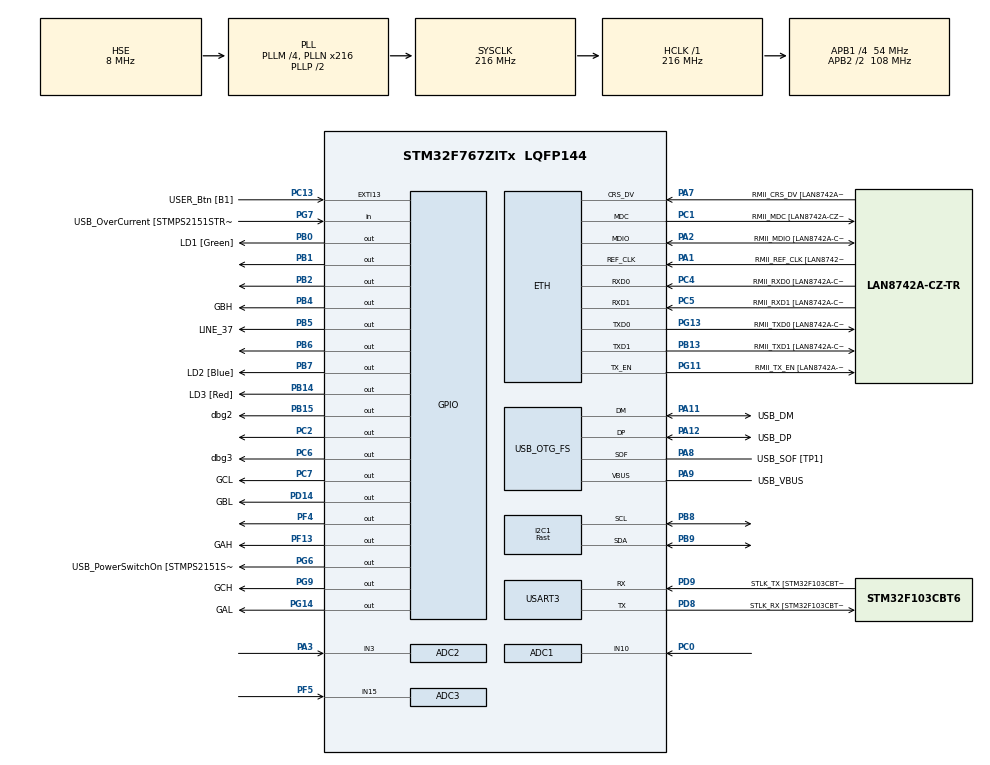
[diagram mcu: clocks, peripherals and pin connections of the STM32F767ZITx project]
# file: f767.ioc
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ADC1.Channel-2\#ChannelRegularConversion=ADC_CHANNEL_10
ADC1.ClockPrescaler=ADC_CLOCK_SYNC_PCLK_DIV8
ADC1.ContinuousConvMode=ENABLE
ADC1.DMAContinuousRequests=DISABLE
ADC1.EOCSelection=ADC_EOC_SEQ_CONV
ADC1.ExternalTrigConv=ADC_SOFTWARE_START
ADC1.Mode=__NULL
ADC1.NbrOfConversionFlag=1
ADC1.Rank-2\#ChannelRegularConversion=1
ADC1.SamplingTime-2\#ChannelRegularConversion=ADC_SAMPLETIME_15CYCLES
ADC1.master=1
ADC2.Channel-0\#ChannelRegularConversion=ADC_CHANNEL_3
ADC2.ClockPrescaler=ADC_CLOCK_SYNC_PCLK_DIV8
ADC2.ContinuousConvMode=ENABLE
ADC2.DMAContinuousRequests=DISABLE
ADC2.EOCSelection=ADC_EOC_SEQ_CONV
ADC2.NbrOfConversionFlag=1
ADC2.Rank-0\#ChannelRegularConversion=1
ADC2.SamplingTime-0\#ChannelRegularConversion=ADC_SAMPLETIME_15CYCLES
ADC3.Channel-0\#ChannelRegularConversion=ADC_CHANNEL_15
ADC3.ClockPrescaler=ADC_CLOCK_SYNC_PCLK_DIV8
ADC3.ContinuousConvMode=ENABLE
ADC3.DMAContinuousRequests=DISABLE
ADC3.EOCSelection=ADC_EOC_SEQ_CONV
ADC3.NbrOfConversionFlag=1
ADC3.Rank-0\#ChannelRegularConversion=1
ADC3.SamplingTime-0\#ChannelRegularConversion=ADC_SAMPLETIME_15CYCLES
CORTEX_M7.ART_ACCLERATOR_ENABLE=1
CORTEX_M7.CPU_DCache=Enabled
CORTEX_M7.CPU_ICache=Enabled
CORTEX_M7.FlashInterface=TCM_Enabled
CORTEX_M7.PREFETCH_ENABLE=1
ETH.MediaInterface=ETH_MEDIA_INTERFACE_RMII
ETH.PHY_Name=LAN8742A_PHY_ADDRESS
ETH.PHY_Value=0
ETH.PhyAddress=0
FREERTOS.Tasks01=defaultTask,24,1024,StartDefaultTask,Default,NULL,Dynamic,NULL,NULL;task2,8,1024,StartTask2,Default,NULL,Dynamic,NULL,NULL;speed_control,16,1024,SpeedControl,Default,NULL,Dynamic,NULL,NULL
FREERTOS.configENABLE_FPU=1
FREERTOS.configMINIMAL_STACK_SIZE=1024
FREERTOS.configTIMER_QUEUE_LENGTH=16
I2C1.I2C_Speed_Mode=I2C_Fast
I2C1.Timing=0x6000030D
LWIP.GATEWAY_ADDRESS=192.168.001.002
LWIP.IP_ADDRESS=192.168.001.241
LWIP.LWIP_DHCP=0
LWIP.NETMASK_ADDRESS=255.255.255.000
LWIP.Version=v2.1.2_Cube
Mcu.Family=STM32F7
Mcu.Name=STM32F767ZITx
Mcu.Package=LQFP144
NVIC.ETH_IRQn=true\:5\:0\:false\:false\:true\:true\:false\:true
NVIC.PriorityGroup=NVIC_PRIORITYGROUP_4
NVIC.TIM2_IRQn=true\:5\:0\:false\:false\:true\:true\:true\:true
NVIC.TIM6_DAC_IRQn=true\:0\:0\:false\:false\:true\:false\:false\:true
NVIC.TimeBase=TIM6_DAC_IRQn
NVIC.TimeBaseIP=TIM6
PA1.GPIO_Label=RMII_REF_CLK [LAN8742A-CZ-TR_REFCLK0]
PA1.Mode=RMII
PA1.Signal=ETH_REF_CLK
PA10.GPIO_Label=USB_ID
PA10.Signal=USB_OTG_FS_ID
PA11.GPIO_Label=USB_DM
PA11.Mode=Device_Only
PA11.Signal=USB_OTG_FS_DM
PA12.GPIO_Label=USB_DP
PA12.Mode=Device_Only
PA12.Signal=USB_OTG_FS_DP
PA13.GPIO_Label=TMS
PA13.Mode=Serial_Wire
PA13.Signal=SYS_JTMS-SWDIO
PA14.GPIO_Label=TCK
PA14.Mode=Serial_Wire
PA14.Signal=SYS_JTCK-SWCLK
PA2.GPIO_Label=RMII_MDIO [LAN8742A-CZ-TR_MDIO]
PA2.Mode=RMII
PA2.Signal=ETH_MDIO
PA3.Signal=ADCx_IN3
PA7.GPIO_Label=RMII_CRS_DV [LAN8742A-CZ-TR_CRS_DV]
PA7.Mode=RMII
PA7.Signal=ETH_CRS_DV
PA8.GPIO_Label=USB_SOF [TP1]
PA8.Mode=Activate_SOF_FS
PA8.Signal=USB_OTG_FS_SOF
PA9.GPIO_Label=USB_VBUS
PA9.Mode=Activate_VBUS
PA9.Signal=USB_OTG_FS_VBUS
PB0.GPIO_Label=LD1 [Green]
PB0.GPIO_Speed=GPIO_SPEED_FREQ_VERY_HIGH
PB0.Signal=GPIO_Output
PB1.GPIO_Speed=GPIO_SPEED_FREQ_VERY_HIGH
PB1.Signal=GPIO_Output
PB13.GPIO_Label=RMII_TXD1 [LAN8742A-CZ-TR_TXD1]
PB13.Mode=RMII
PB13.Signal=ETH_TXD1
PB14.GPIO_Label=LD3 [Red]
PB14.GPIO_Speed=GPIO_SPEED_FREQ_VERY_HIGH
PB14.Signal=GPIO_Output
PB15.GPIO_Label=dbg2
PB15.GPIO_Speed=GPIO_SPEED_FREQ_VERY_HIGH
PB15.Signal=GPIO_Output
PB2.GPIO_Speed=GPIO_SPEED_FREQ_VERY_HIGH
PB2.Signal=GPIO_Output
PB3.GPIO_Label=SWO
PB3.Signal=SYS_JTDO-SWO
PB4.GPIO_Label=GBH
PB4.GPIO_Speed=GPIO_SPEED_FREQ_VERY_HIGH
PB4.Signal=GPIO_Output
PB5.GPIO_Label=LINE_37
PB5.GPIO_Speed=GPIO_SPEED_FREQ_VERY_HIGH
PB5.Signal=GPIO_Output
PB6.GPIO_Speed=GPIO_SPEED_FREQ_VERY_HIGH
PB6.Signal=GPIO_Output
PB7.GPIO_FM7=SYSCFG_PMC_I2C_PB7_FMP
PB7.GPIO_Label=LD2 [Blue]
PB7.GPIO_Speed=GPIO_SPEED_FREQ_VERY_HIGH
PB7.Signal=GPIO_Output
PB8.Mode=I2C
PB8.Signal=I2C1_SCL
PB9.Mode=I2C
PB9.Signal=I2C1_SDA
PC0.Signal=ADCx_IN10
PC1.GPIO_Label=RMII_MDC [LAN8742A-CZ-TR_MDC]
PC1.Mode=RMII
PC1.Signal=ETH_MDC
PC13.GPIO_Label=USER_Btn [B1]
PC13.Signal=GPXTI13
PC14/OSC32_IN.Mode=LSE-External-Oscillator
PC14/OSC32_IN.Signal=RCC_OSC32_IN
PC15/OSC32_OUT.Mode=LSE-External-Oscillator
PC15/OSC32_OUT.Signal=RCC_OSC32_OUT
PC2.GPIO_Speed=GPIO_SPEED_FREQ_VERY_HIGH
PC2.Signal=GPIO_Output
PC4.GPIO_Label=RMII_RXD0 [LAN8742A-CZ-TR_RXD0]
PC4.Mode=RMII
PC4.Signal=ETH_RXD0
PC5.GPIO_Label=RMII_RXD1 [LAN8742A-CZ-TR_RXD1]
PC5.Mode=RMII
PC5.Signal=ETH_RXD1
PC6.GPIO_Label=dbg3
PC6.GPIO_Speed=GPIO_SPEED_FREQ_VERY_HIGH
PC6.Signal=GPIO_Output
PC7.GPIO_Label=GCL
PC7.GPIO_Speed=GPIO_SPEED_FREQ_VERY_HIGH
PC7.Signal=GPIO_Output
PD14.GPIO_Label=GBL
PD14.GPIO_Speed=GPIO_SPEED_FREQ_VERY_HIGH
PD14.Signal=GPIO_Output
PD8.GPIO_Label=STLK_RX [STM32F103CBT6_PA3]
PD8.Mode=Asynchronous
PD8.Signal=USART3_TX
PD9.GPIO_Label=STLK_TX [STM32F103CBT6_PA2]
PD9.Mode=Asynchronous
PD9.Signal=USART3_RX
PF13.GPIO_Label=GAH
PF13.GPIO_Speed=GPIO_SPEED_FREQ_VERY_HIGH
PF13.Signal=GPIO_Output
PF4.GPIO_Speed=GPIO_SPEED_FREQ_VERY_HIGH
PF4.Signal=GPIO_Output
PF5.Mode=IN15
PF5.Signal=ADC3_IN15
PG11.GPIO_Label=RMII_TX_EN [LAN8742A-CZ-TR_TXEN]
PG11.Mode=RMII
PG11.Signal=ETH_TX_EN
PG13.GPIO_Label=RMII_TXD0 [LAN8742A-CZ-TR_TXD0]
PG13.Mode=RMII
PG13.Signal=ETH_TXD0
PG14.GPIO_Label=GAL
PG14.GPIO_Speed=GPIO_SPEED_FREQ_VERY_HIGH
PG14.Signal=GPIO_Output
PG6.GPIO_Label=USB_PowerSwitchOn [STMPS2151STR_EN]
PG6.GPIO_Speed=GPIO_SPEED_FREQ_VERY_HIGH
PG6.Signal=GPIO_Output
PG7.GPIO_Label=USB_OverCurrent [STMPS2151STR_FAULT]
PG7.Signal=GPIO_Input
PG9.GPIO_Label=GCH
PG9.GPIO_Speed=GPIO_SPEED_FREQ_VERY_HIGH
PG9.Signal=GPIO_Output
PH0/OSC_IN.GPIO_Label=MCO [STM32F103CBT6_PA8]
PH0/OSC_IN.Mode=HSE-External-Clock-Source
PH0/OSC_IN.Signal=RCC_OSC_IN
PH1/OSC_OUT.Mode=HSE-External-Clock-Source
PH1/OSC_OUT.Signal=RCC_OSC_OUT
ProjectManager.HeapSize=0x200
ProjectManager.StackSize=0x400
ProjectManager.TargetToolchain=STM32CubeIDE
RCC.48MHZClocksFreq_Value=24000000
RCC.AHBFreq_Value=216000000
RCC.APB1CLKDivider=RCC_HCLK_DIV4
RCC.APB1Freq_Value=54000000
RCC.APB1TimFreq_Value=108000000
RCC.APB2CLKDivider=RCC_HCLK_DIV2
RCC.APB2Freq_Value=108000000
RCC.APB2TimFreq_Value=216000000
RCC.CortexFreq_Value=216000000
RCC.HCLKFreq_Value=216000000
RCC.HSE_VALUE=8000000
RCC.HSI_VALUE=16000000
RCC.PLLM=4
RCC.PLLMUL=RCC_PLL_MUL9
RCC.PLLN=216
RCC.PLLQ=9
RCC.PRESCALERUSB=RCC_USBCLKSOURCE_PLL_DIV1_5
RCC.SYSCLKFreq_VALUE=216000000
RCC.SYSCLKSource=RCC_SYSCLKSOURCE_PLLCLK
RCC.SYSCLKSourceVirtual=RCC_SYSCLKSOURCE_PLLCLK
RCC.USBFreq_Value=48000000
RCC.VCOOutputFreq_Value=432000000
SH.ADCx_IN10.0=ADC1_IN10,IN10
SH.ADCx_IN3.0=ADC2_IN3,IN3
TIM2.Period=1350
USART3.DMADisableonRxErrorParam=ADVFEATURE_DMA_DISABLEONRXERROR
USART3.OverrunDisableParam=ADVFEATURE_OVERRUN_DISABLE
USART3.VirtualMode-Asynchronous=VM_ASYNC
USB_OTG_FS.VirtualMode=Device_Only
VP_FREERTOS_VS_CMSIS_V2.Mode=CMSIS_V2
VP_LWIP_VS_Enabled.Mode=Enabled
VP_SYS_VS_tim6.Mode=TIM6
VP_TIM2_VS_ClockSourceINT.Mode=Internal
board=NUCLEO-F767ZI

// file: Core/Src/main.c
/* USER CODE BEGIN Header */
/**
 ******************************************************************************
 * @file           : main.c
 * @brief          : Main program body
 ******************************************************************************
 * @attention
 *
 * <h2><center>&copy; Copyright (c) 2020 STMicroelectronics.
 * All rights reserved.</center></h2>
 *
 * This software component is licensed by ST under BSD 3-Clause license,
 * the "License"; You may not use this file except in compliance with the
 * License. You may obtain a copy of the License at:
 *                        opensource.org/licenses/BSD-3-Clause
 *
 ******************************************************************************
 */
/* USER CODE END Header */

#include "main.h"
#include "cmsis_os.h"
#include "lwip.h"

/* USER CODE BEGIN Includes */
#include "general.h"
//#include "retarget.h"
#include <fastmath.h>
#include <string.h>
#include <stdlib.h>
#include <lwip/udp.h>
#include <lwip/ip_addr.h>

#include "ssd1306.h"
#include "fonts.h"

/* USER CODE END Includes */

/* USER CODE BEGIN PD */
struct udp_pcb *upcb;
struct ip4_addr dst_addr;

/* USER CODE END PD */

ADC_HandleTypeDef hadc1;
ADC_HandleTypeDef hadc2;
ADC_HandleTypeDef hadc3;

I2C_HandleTypeDef hi2c1;

TIM_HandleTypeDef htim2;

UART_HandleTypeDef huart3;

PCD_HandleTypeDef hpcd_USB_OTG_FS;

/* Definitions for defaultTask */
osThreadId_t defaultTaskHandle;
const osThreadAttr_t defaultTask_attributes = {
  .name = "defaultTask",
  .priority = (osPriority_t) osPriorityNormal,
  .stack_size = 1024 * 4
};
/* Definitions for task2 */
osThreadId_t task2Handle;
const osThreadAttr_t task2_attributes = {
  .name = "task2",
  .priority = (osPriority_t) osPriorityLow,
  .stack_size = 1024 * 4
};
/* Definitions for speed_control */
osThreadId_t speed_controlHandle;
const osThreadAttr_t speed_control_attributes = {
  .name = "speed_control",
  .priority = (osPriority_t) osPriorityBelowNormal,
  .stack_size = 1024 * 4
};
/* USER CODE BEGIN PV */

const float adc_2_volt = 3.3 / 0xfff; // V/code
const float isense_gain = 1.0 / 0.066; // A/V
const float vsense_gain = (218. + 4710.) / 218.;

#define STATE_OFF 0
#define STATE_RUN 1
#define STATE_OC 2
#define STATE_OV 3

#define OC_LIM 10.0  // Amps

volatile struct data_struct_t {
	float adc1;
	float adc2;
	float adc3;
	float ia;		// Measured A Phase Current
	float ib;		// Measured B Phase Current
	float ic;		// Calculated C Phase Current
	float vbus;		// Measured Bus Voltage
	float ids;		// Current D Axis
	float iqs;		// Current Q Axis
	float vds;		// Voltage D Axis
	float vqs;		// Voltage Q Axis
	float flds;		// Flux Linkage D Axis
	float flqs;		// Flux Linkage Q Axis
	float fls;  	// Flux vector norm
	float flux_ang; // Aagle of the d&q flux vectors
	float rs;		// Stator Resistance
	float van;		// Voltage from A to Neutral
	float vbn;		// Voltage from B to Neutral
	float vcn;		// Voltage from C to Neutral
	float te; 		// Electromagnetic Torque
	float torque_goal;
	float flux_goal;
	float speed_rpm;
	float test;
	int run_state;	// Run Mode
	int flux_sector;// Sector from angle.
	int sw;			// Switch state (0-5)
} data;

/* USER CODE END PV */

void SystemClock_Config(void);
static void MX_GPIO_Init(void);
static void MX_USART3_UART_Init(void);
static void MX_USB_OTG_FS_PCD_Init(void);
static void MX_ADC1_Init(void);
static void MX_ADC2_Init(void);
static void MX_ADC3_Init(void);
static void MX_TIM2_Init(void);
static void MX_I2C1_Init(void);
void StartDefaultTask(void *argument);
void StartTask2(void *argument);
void SpeedControl(void *argument);

/* USER CODE BEGIN PFP */

void print_float(float val, char *buf) {

	char *val_sign = (val < 0) ? "-" : "";
	float abs_val = (val < 0) ? -val : val;

	int val_int = abs_val;                  // Get the integer (678).
	float val_frac = abs_val - abs_val;      // Get fraction (0.0123).
	int val_int2 = trunc(val_frac * 1000);  // Turn into integer (123).

	// Print as parts, note that you need 0-padding for fractional bit.
	snprintf(buf, 8, "%s%d.%01d", val_sign, val_int, val_int2);
}

/* USER CODE END PFP */

/* USER CODE BEGIN 0 */

const float one_over_sqrt3 = 1.0 / sqrtf(3);
const float one_over_three = 1.0 / 3.0;
const float two_over_three = 2.0 / 3.0;
const float rad_2_deg = 180.0 / M_PI;
const float dt = 1.0 / 80e3;
#define poles 8
const float Ke = 0.036;

float torque_hyst = 0.001;
float flux_hyst = 0.0005;

const float deg_per_sec_to_rpm = 60.0 / 360.0;

const uint16_t switch_vector_lookup[6][6] = {
		{2, 3, 4, 5, 6, 1},
		{0, 7, 0, 7, 0, 7},
		{6, 1, 2, 3, 4, 5},
		{3, 4, 5, 6, 1, 2},
		{7, 0, 7, 0, 7, 0},
		{5, 6, 1, 2, 3, 4},
};

#define SPEED_FILT_LEN 64
#define STEPS_PER_SPEED_UPDATE 8 // 10kHz
static float speed_filt_arr[SPEED_FILT_LEN];
static float speed_filt_sum = 0;
static int speed_filt_idx = 0;

void FastControl(void) {
	// Hysteresis state variables
	static int dflux = 1;
	static int dtorque = 1;
	static float last_ang = 0;
	static int steps_per_angle_update = 1;
	static int run_speed_calc = 0;
	static float torque_err_last = 0;

	// Neutral voltage
	float vn;

	DBG_0_ON();

	// https://www.mathworks.com/help/physmod/sps/powersys/ug/simulating-an-ac-motor-drive.html#f4-7795

	data.adc1 = ADC1->DR * adc_2_volt;
	data.adc2 = ADC2->DR * adc_2_volt;
	data.adc3 = ADC3->DR * adc_2_volt;
	data.vbus = data.adc1 * vsense_gain;
	data.ia = -(data.adc2 - 1.65) * isense_gain;
	data.ib = -(data.adc3 - 1.65) * isense_gain;
	data.ic = 0 - data.ia - data.ib; // ia + ib + ic = 0

	if (data.ia > OC_LIM) {
		data.run_state = STATE_OC;
	}
	if (data.ib > OC_LIM) {
		data.run_state = STATE_OC;
	}
	if (data.ic > OC_LIM) {
		data.run_state = STATE_OC;
	}

	// Page 27
	// COmpute D&Q Currents
	data.iqs = two_over_three * data.ia - one_over_three * data.ib - one_over_three * data.ic;
	data.ids = one_over_sqrt3 * data.ic - one_over_sqrt3 * data.ib;

	// From the switch state the last cycle - compute vd and vq
	switch(data.sw){
		case 0:
			// AL BL CL - Braking Low
			data.van = 0.0;
			data.vbn = 0.0;
			data.vcn = 0.0;
			break;
		case 1:
			//  AH BL CL
			vn = data.vbus * one_over_three;
			data.van = data.vbus - vn;
			data.vbn = -vn;
			data.vcn = -vn;
			break;
		case 2:
			//  AH BH CL
			vn = data.vbus * two_over_three;
			data.van = data.vbus - vn;
			data.vbn = data.vbus - vn;
			data.vcn = -vn;
			break;
		case 3:
			//  AL BH CL
			vn = data.vbus * one_over_three;
			data.van = -vn;
			data.vbn = data.vbus - vn;
			data.vcn = -vn;
			break;
		case 4:
			//  AL BH CH
			vn = data.vbus * two_over_three;
			data.van = -vn;
			data.vbn = data.vbus - vn;
			data.vcn = data.vbus - vn;
			break;
		case 5:
			//  AL BL CH
			vn = data.vbus * one_over_three;
			data.van = -vn;
			data.vbn = -vn;
			data.vcn = data.vbus - vn;
			break;
		case 6:
			//  AH BL CH
			vn = data.vbus * two_over_three;
			data.van = data.vbus - vn;
			data.vbn = -vn;
			data.vcn = data.vbus - vn;
			break;
		case 7:
			// AH BH CH - Braking High
			data.van = 0.0;
			data.vbn = 0.0;
			data.vcn = 0.0;
			break;
		default:
			data.van = 0.0;
			data.vbn = 0.0;
			data.vcn = 0.0;
			break;
	}

	// Compute D&Q Voltages
	data.vqs = two_over_three * data.van - one_over_three * data.vbn - one_over_three * data.vcn;
	data.vds = one_over_sqrt3 * data.vcn - one_over_sqrt3 * data.vbn;

	// Compute D&Q flux linkages by integration + the vector norm
	data.flds += (data.vds - data.rs * data.ids) * dt;
	data.flqs += (data.vqs - data.rs * data.iqs) * dt;
	data.fls = hypotf(data.flds, data.flqs);

	// From the flux calculate the sector we're in
	data.flux_ang = atan2f(-data.flds, data.flqs) * rad_2_deg;

	// Compute electromagnetic torque
	data.te = 0.75 * poles * (data.flds * data.iqs - data.flqs * data.ids);

	// Compute hysteresis state switches
	float torque_err = data.torque_goal - data.te;
	float flux_err = data.flux_goal - data.fls;
	//if(torque_err > torque_hyst){dtorque = -1;}
	//if(torque_err < -torque_hyst){dtorque = 1;}

	if(torque_err > 0){
		if(torque_err > torque_hyst){dtorque = -1;}
		else if(torque_err > torque_err_last){dtorque = 0;}
		else{dtorque = -1;}
	}else{
		if(torque_err < torque_hyst){dtorque = 1;}
		else if(torque_err < torque_err_last){dtorque = 0;}
		else{dtorque = 1;}
	}

	torque_err_last = torque_err;

	if(flux_err > flux_hyst){dflux = 1;}
	if(flux_err < -flux_hyst){dflux = -1;}

	// Figure out the first index for the switch table from the hysteresis comparators
	int sw_row;
	if(dflux == 1){
		if(dtorque == 1){sw_row = 0;}
		else if(dtorque == 0){sw_row = 1;}
		else{sw_row = 2;}
	}
	else{
		if(dtorque == 1){sw_row = 3;}
		else if(dtorque == 0){sw_row = 4;}
		else{sw_row = 5;}
	}

	// Next figure out the switch state from the flux angle.
	if(data.flux_ang >= -30 && data.flux_ang < 30){data.flux_sector = 1;}
	else if(data.flux_ang >= 30 && data.flux_ang < 90){data.flux_sector = 2;}
	else if(data.flux_ang >= 90 && data.flux_ang < 150){data.flux_sector = 3;}
	else if(data.flux_ang >= 150 && data.flux_ang < 180){data.flux_sector = 4;}
	else if(data.flux_ang >= -180 && data.flux_ang < -150){data.flux_sector = 4;}
	else if(data.flux_ang >= -150 && data.flux_ang < -90){data.flux_sector = 5;}
	else if(data.flux_ang >= -90 && data.flux_ang < -30){data.flux_sector = 6;}
	else {data.flux_sector = 1;}

	int sw_col = data.flux_sector - 1;

	// Set the switch state
	// TODO add a limiter function here.
	data.sw = switch_vector_lookup[sw_row][sw_col];

	// Resistance corrector
	// TODO
	data.rs = 0.72/2.0;

	// Estimate the speed
	// Wraparound
	if(last_ang < -90 && data.flux_ang > 90){
		last_ang += 360.0;
	}
	if(last_ang > 90 && data.flux_ang < -90){
		last_ang -= 360.0;
	}
	if(run_speed_calc++ >= STEPS_PER_SPEED_UPDATE){
		DBG_1_ON();
		run_speed_calc = 1;
		float deg_per_sec = (data.flux_ang - last_ang) / (dt*STEPS_PER_SPEED_UPDATE);
  	    float inst_rpm = -deg_per_sec * deg_per_sec_to_rpm * 2.0 / poles;
	    data.test = inst_rpm;
	    inst_rpm = lim_float(inst_rpm, -10000, 10000);
	    last_ang = data.flux_ang;
    	// Filter for speed
	    speed_filt_sum += inst_rpm;
	    speed_filt_sum -= speed_filt_arr[speed_filt_idx];
	    speed_filt_arr[speed_filt_idx] = inst_rpm;
	    speed_filt_idx++;
	    if(speed_filt_idx >= SPEED_FILT_LEN){ speed_filt_idx = 0;}

	    data.speed_rpm = speed_filt_sum / SPEED_FILT_LEN;
	    DBG_1_OFF();
	}else{
		steps_per_angle_update++;
	}

	// Switch to set switch states
	switch(data.sw){
		case 0:
			// AL BL CL - Brake
			AH_OFF();
			BH_OFF();
			CH_OFF();
			delay200ns();
			AL_ON();
			BL_ON();
			CL_ON();
			break;
		case 1:
			//  AH BL CL - V1
			AL_OFF();
			BH_OFF();
			CH_OFF();
			delay200ns();
			AH_ON();
			BL_ON();
			CL_ON();
			break;
		case 2:
			//  AH BH CL - V2
			AL_OFF();
			BL_OFF();
			CH_OFF();
			delay200ns();
			AH_ON();
			BH_ON();
			CL_ON();
			break;
		case 3:
			//  AL BH CL - V3
			AH_OFF();
			BL_OFF();
			CH_OFF();
			delay200ns();
			AL_ON();
			BH_ON();
			CL_ON();
			break;
		case 4:
			//  AL BH CH - V4
			AH_OFF();
			BL_OFF();
			CL_OFF();
			delay200ns();
			AL_ON();
			BH_ON();
			CH_ON();
			break;
		case 5:
			//  AL BL CH - V5
			AH_OFF();
			BH_OFF();
			CL_OFF();
			delay200ns();
			AL_ON();
			BL_ON();
			CH_ON();
			break;
		case 6:
			//  AH BL CH - V6
			AL_OFF();
			BH_OFF();
			CL_OFF();
			delay200ns();
			AH_ON();
			BL_ON();
			CH_ON();
			break;
		case 7:
			// AH BH CH - Brake
			AL_OFF();
			BL_OFF();
			CL_OFF();
			delay200ns();
			AH_ON();
			BH_ON();
			CH_ON();
			break;
		default:
			// All Off
			AL_OFF();
			AH_OFF();
			BL_OFF();
			BH_OFF();
			CL_OFF();
			CH_OFF();
			break;
	}

	DBG_0_OFF();
}

/* USER CODE END 0 */

int main(void)
{

  /* Enable I-Cache---------------------------------------------------------*/
  SCB_EnableICache();

  /* Enable D-Cache---------------------------------------------------------*/
  SCB_EnableDCache();

  /* MCU Configuration--------------------------------------------------------*/

  /* Reset of all peripherals, Initializes the Flash interface and the Systick. */
  HAL_Init();

  /* Configure the system clock */
  SystemClock_Config();

  /* Initialize all configured peripherals */
  MX_GPIO_Init();
  MX_USART3_UART_Init();
  MX_USB_OTG_FS_PCD_Init();
  MX_ADC1_Init();
  MX_ADC2_Init();
  MX_ADC3_Init();
  MX_TIM2_Init();
  MX_I2C1_Init();
  /* USER CODE BEGIN 2 */

	HAL_TIM_Base_Start_IT(&htim2);
	HAL_ADC_Start(&hadc1);
	HAL_ADC_Start(&hadc2);
	HAL_ADC_Start(&hadc3);

	GeneralInit();

	ssd1306_Init();
	ssd1306_Fill(Black);
	ssd1306_UpdateScreen();
	HAL_Delay(250);
	ssd1306_SetCursor(0, 23);
	ssd1306_WriteString("Initialized", Font_11x18, White);
	ssd1306_UpdateScreen();
	HAL_Delay(250);
	ssd1306_Fill(Black);
	ssd1306_UpdateScreen();

	//RetargetInit(&huart3);

	//NVIC_PriorityGroupConfig( NVIC_PriorityGroup_4 );

  /* USER CODE END 2 */

  /* Init scheduler */
  osKernelInitialize();

  /* USER CODE BEGIN RTOS_TIMERS */
	//osTimerStart(timer_100msHandle, 1);
	/* start timers, add new ones, ... */
  /* USER CODE END RTOS_TIMERS */

  /* Create the thread(s) */
  /* creation of defaultTask */
  defaultTaskHandle = osThreadNew(StartDefaultTask, NULL, &defaultTask_attributes);

  /* creation of task2 */
  task2Handle = osThreadNew(StartTask2, NULL, &task2_attributes);

  /* creation of speed_control */
  speed_controlHandle = osThreadNew(SpeedControl, NULL, &speed_control_attributes);

  /* Start scheduler */
  osKernelStart();

  /* We should never get here as control is now taken by the scheduler */
  /* Infinite loop */
	while (1) {

	}
}

void SystemClock_Config(void)
{
  RCC_OscInitTypeDef RCC_OscInitStruct = {0};
  RCC_ClkInitTypeDef RCC_ClkInitStruct = {0};
  RCC_PeriphCLKInitTypeDef PeriphClkInitStruct = {0};

  /** Configure LSE Drive Capability
  */
  HAL_PWR_EnableBkUpAccess();
  /** Configure the main internal regulator output voltage
  */
  __HAL_RCC_PWR_CLK_ENABLE();
  __HAL_PWR_VOLTAGESCALING_CONFIG(PWR_REGULATOR_VOLTAGE_SCALE1);
  /** Initializes the CPU, AHB and APB busses clocks
  */
  RCC_OscInitStruct.OscillatorType = RCC_OSCILLATORTYPE_HSE;
  RCC_OscInitStruct.HSEState = RCC_HSE_BYPASS;
  RCC_OscInitStruct.PLL.PLLState = RCC_PLL_ON;
  RCC_OscInitStruct.PLL.PLLSource = RCC_PLLSOURCE_HSE;
  RCC_OscInitStruct.PLL.PLLM = 4;
  RCC_OscInitStruct.PLL.PLLN = 216;
  RCC_OscInitStruct.PLL.PLLP = RCC_PLLP_DIV2;
  RCC_OscInitStruct.PLL.PLLQ = 9;
  if (HAL_RCC_OscConfig(&RCC_OscInitStruct) != HAL_OK)
  {
    Error_Handler();
  }
  /** Activate the Over-Drive mode
  */
  if (HAL_PWREx_EnableOverDrive() != HAL_OK)
  {
    Error_Handler();
  }
  /** Initializes the CPU, AHB and APB busses clocks
  */
  RCC_ClkInitStruct.ClockType = RCC_CLOCKTYPE_HCLK|RCC_CLOCKTYPE_SYSCLK
                              |RCC_CLOCKTYPE_PCLK1|RCC_CLOCKTYPE_PCLK2;
  RCC_ClkInitStruct.SYSCLKSource = RCC_SYSCLKSOURCE_PLLCLK;
  RCC_ClkInitStruct.AHBCLKDivider = RCC_SYSCLK_DIV1;
  RCC_ClkInitStruct.APB1CLKDivider = RCC_HCLK_DIV4;
  RCC_ClkInitStruct.APB2CLKDivider = RCC_HCLK_DIV2;

  if (HAL_RCC_ClockConfig(&RCC_ClkInitStruct, FLASH_LATENCY_7) != HAL_OK)
  {
    Error_Handler();
  }
  PeriphClkInitStruct.PeriphClockSelection = RCC_PERIPHCLK_USART3|RCC_PERIPHCLK_I2C1
                              |RCC_PERIPHCLK_CLK48;
  PeriphClkInitStruct.Usart3ClockSelection = RCC_USART3CLKSOURCE_PCLK1;
  PeriphClkInitStruct.I2c1ClockSelection = RCC_I2C1CLKSOURCE_PCLK1;
  PeriphClkInitStruct.Clk48ClockSelection = RCC_CLK48SOURCE_PLL;
  if (HAL_RCCEx_PeriphCLKConfig(&PeriphClkInitStruct) != HAL_OK)
  {
    Error_Handler();
  }
}

static void MX_ADC1_Init(void)
{

  ADC_ChannelConfTypeDef sConfig = {0};

  /** Configure the global features of the ADC (Clock, Resolution, Data Alignment and number of conversion)
  */
  hadc1.Instance = ADC1;
  hadc1.Init.ClockPrescaler = ADC_CLOCK_SYNC_PCLK_DIV8;
  hadc1.Init.Resolution = ADC_RESOLUTION_12B;
  hadc1.Init.ScanConvMode = ADC_SCAN_DISABLE;
  hadc1.Init.ContinuousConvMode = ENABLE;
  hadc1.Init.DiscontinuousConvMode = DISABLE;
  hadc1.Init.ExternalTrigConvEdge = ADC_EXTERNALTRIGCONVEDGE_NONE;
  hadc1.Init.ExternalTrigConv = ADC_SOFTWARE_START;
  hadc1.Init.DataAlign = ADC_DATAALIGN_RIGHT;
  hadc1.Init.NbrOfConversion = 1;
  hadc1.Init.DMAContinuousRequests = DISABLE;
  hadc1.Init.EOCSelection = ADC_EOC_SEQ_CONV;
  if (HAL_ADC_Init(&hadc1) != HAL_OK)
  {
    Error_Handler();
  }
  /** Configure for the selected ADC regular channel its corresponding rank in the sequencer and its sample time.
  */
  sConfig.Channel = ADC_CHANNEL_10;
  sConfig.Rank = ADC_REGULAR_RANK_1;
  sConfig.SamplingTime = ADC_SAMPLETIME_15CYCLES;
  if (HAL_ADC_ConfigChannel(&hadc1, &sConfig) != HAL_OK)
  {
    Error_Handler();
  }

}

static void MX_ADC2_Init(void)
{

  ADC_ChannelConfTypeDef sConfig = {0};

  /** Configure the global features of the ADC (Clock, Resolution, Data Alignment and number of conversion)
  */
  hadc2.Instance = ADC2;
  hadc2.Init.ClockPrescaler = ADC_CLOCK_SYNC_PCLK_DIV8;
  hadc2.Init.Resolution = ADC_RESOLUTION_12B;
  hadc2.Init.ScanConvMode = ADC_SCAN_DISABLE;
  hadc2.Init.ContinuousConvMode = ENABLE;
  hadc2.Init.DiscontinuousConvMode = DISABLE;
  hadc2.Init.ExternalTrigConvEdge = ADC_EXTERNALTRIGCONVEDGE_NONE;
  hadc2.Init.ExternalTrigConv = ADC_SOFTWARE_START;
  hadc2.Init.DataAlign = ADC_DATAALIGN_RIGHT;
  hadc2.Init.NbrOfConversion = 1;
  hadc2.Init.DMAContinuousRequests = DISABLE;
  hadc2.Init.EOCSelection = ADC_EOC_SEQ_CONV;
  if (HAL_ADC_Init(&hadc2) != HAL_OK)
  {
    Error_Handler();
  }
  /** Configure for the selected ADC regular channel its corresponding rank in the sequencer and its sample time.
  */
  sConfig.Channel = ADC_CHANNEL_3;
  sConfig.Rank = ADC_REGULAR_RANK_1;
  sConfig.SamplingTime = ADC_SAMPLETIME_15CYCLES;
  if (HAL_ADC_ConfigChannel(&hadc2, &sConfig) != HAL_OK)
  {
    Error_Handler();
  }

}

static void MX_ADC3_Init(void)
{

  ADC_ChannelConfTypeDef sConfig = {0};

  /** Configure the global features of the ADC (Clock, Resolution, Data Alignment and number of conversion)
  */
  hadc3.Instance = ADC3;
  hadc3.Init.ClockPrescaler = ADC_CLOCK_SYNC_PCLK_DIV8;
  hadc3.Init.Resolution = ADC_RESOLUTION_12B;
  hadc3.Init.ScanConvMode = ADC_SCAN_DISABLE;
  hadc3.Init.ContinuousConvMode = ENABLE;
  hadc3.Init.DiscontinuousConvMode = DISABLE;
  hadc3.Init.ExternalTrigConvEdge = ADC_EXTERNALTRIGCONVEDGE_NONE;
  hadc3.Init.ExternalTrigConv = ADC_SOFTWARE_START;
  hadc3.Init.DataAlign = ADC_DATAALIGN_RIGHT;
  hadc3.Init.NbrOfConversion = 1;
  hadc3.Init.DMAContinuousRequests = DISABLE;
  hadc3.Init.EOCSelection = ADC_EOC_SEQ_CONV;
  if (HAL_ADC_Init(&hadc3) != HAL_OK)
  {
    Error_Handler();
  }
  /** Configure for the selected ADC regular channel its corresponding rank in the sequencer and its sample time.
  */
  sConfig.Channel = ADC_CHANNEL_15;
  sConfig.Rank = ADC_REGULAR_RANK_1;
  sConfig.SamplingTime = ADC_SAMPLETIME_15CYCLES;
  if (HAL_ADC_ConfigChannel(&hadc3, &sConfig) != HAL_OK)
  {
    Error_Handler();
  }

}

static void MX_I2C1_Init(void)
{

  hi2c1.Instance = I2C1;
  hi2c1.Init.Timing = 0x6000030D;
  hi2c1.Init.OwnAddress1 = 0;
  hi2c1.Init.AddressingMode = I2C_ADDRESSINGMODE_7BIT;
  hi2c1.Init.DualAddressMode = I2C_DUALADDRESS_DISABLE;
  hi2c1.Init.OwnAddress2 = 0;
  hi2c1.Init.OwnAddress2Masks = I2C_OA2_NOMASK;
  hi2c1.Init.GeneralCallMode = I2C_GENERALCALL_DISABLE;
  hi2c1.Init.NoStretchMode = I2C_NOSTRETCH_DISABLE;
  if (HAL_I2C_Init(&hi2c1) != HAL_OK)
  {
    Error_Handler();
  }
  /** Configure Analogue filter
  */
  if (HAL_I2CEx_ConfigAnalogFilter(&hi2c1, I2C_ANALOGFILTER_ENABLE) != HAL_OK)
  {
    Error_Handler();
  }
  /** Configure Digital filter
  */
  if (HAL_I2CEx_ConfigDigitalFilter(&hi2c1, 0) != HAL_OK)
  {
    Error_Handler();
  }

}

static void MX_TIM2_Init(void)
{

  TIM_ClockConfigTypeDef sClockSourceConfig = {0};
  TIM_MasterConfigTypeDef sMasterConfig = {0};

  htim2.Instance = TIM2;
  htim2.Init.Prescaler = 0;
  htim2.Init.CounterMode = TIM_COUNTERMODE_UP;
  htim2.Init.Period = 1350;
  htim2.Init.ClockDivision = TIM_CLOCKDIVISION_DIV1;
  htim2.Init.AutoReloadPreload = TIM_AUTORELOAD_PRELOAD_DISABLE;
  if (HAL_TIM_Base_Init(&htim2) != HAL_OK)
  {
    Error_Handler();
  }
  sClockSourceConfig.ClockSource = TIM_CLOCKSOURCE_INTERNAL;
  if (HAL_TIM_ConfigClockSource(&htim2, &sClockSourceConfig) != HAL_OK)
  {
    Error_Handler();
  }
  sMasterConfig.MasterOutputTrigger = TIM_TRGO_RESET;
  sMasterConfig.MasterSlaveMode = TIM_MASTERSLAVEMODE_DISABLE;
  if (HAL_TIMEx_MasterConfigSynchronization(&htim2, &sMasterConfig) != HAL_OK)
  {
    Error_Handler();
  }

}

static void MX_USART3_UART_Init(void)
{

  huart3.Instance = USART3;
  huart3.Init.BaudRate = 115200;
  huart3.Init.WordLength = UART_WORDLENGTH_8B;
  huart3.Init.StopBits = UART_STOPBITS_1;
  huart3.Init.Parity = UART_PARITY_NONE;
  huart3.Init.Mode = UART_MODE_TX_RX;
  huart3.Init.HwFlowCtl = UART_HWCONTROL_NONE;
  huart3.Init.OverSampling = UART_OVERSAMPLING_16;
  huart3.Init.OneBitSampling = UART_ONE_BIT_SAMPLE_DISABLE;
  huart3.AdvancedInit.AdvFeatureInit = UART_ADVFEATURE_RXOVERRUNDISABLE_INIT|UART_ADVFEATURE_DMADISABLEONERROR_INIT;
  huart3.AdvancedInit.OverrunDisable = UART_ADVFEATURE_OVERRUN_DISABLE;
  huart3.AdvancedInit.DMADisableonRxError = UART_ADVFEATURE_DMA_DISABLEONRXERROR;
  if (HAL_UART_Init(&huart3) != HAL_OK)
  {
    Error_Handler();
  }

}

static void MX_USB_OTG_FS_PCD_Init(void)
{

  hpcd_USB_OTG_FS.Instance = USB_OTG_FS;
  hpcd_USB_OTG_FS.Init.dev_endpoints = 6;
  hpcd_USB_OTG_FS.Init.speed = PCD_SPEED_FULL;
  hpcd_USB_OTG_FS.Init.dma_enable = DISABLE;
  hpcd_USB_OTG_FS.Init.phy_itface = PCD_PHY_EMBEDDED;
  hpcd_USB_OTG_FS.Init.Sof_enable = ENABLE;
  hpcd_USB_OTG_FS.Init.low_power_enable = DISABLE;
  hpcd_USB_OTG_FS.Init.lpm_enable = DISABLE;
  hpcd_USB_OTG_FS.Init.vbus_sensing_enable = ENABLE;
  hpcd_USB_OTG_FS.Init.use_dedicated_ep1 = DISABLE;
  if (HAL_PCD_Init(&hpcd_USB_OTG_FS) != HAL_OK)
  {
    Error_Handler();
  }

}

static void MX_GPIO_Init(void)
{
  GPIO_InitTypeDef GPIO_InitStruct = {0};

  /* GPIO Ports Clock Enable */
  __HAL_RCC_GPIOC_CLK_ENABLE();
  __HAL_RCC_GPIOF_CLK_ENABLE();
  __HAL_RCC_GPIOH_CLK_ENABLE();
  __HAL_RCC_GPIOA_CLK_ENABLE();
  __HAL_RCC_GPIOB_CLK_ENABLE();
  __HAL_RCC_GPIOD_CLK_ENABLE();
  __HAL_RCC_GPIOG_CLK_ENABLE();

  /*Configure GPIO pin Output Level */
  HAL_GPIO_WritePin(GPIOF, GPIO_PIN_4|GAH_Pin, GPIO_PIN_RESET);

  /*Configure GPIO pin Output Level */
  HAL_GPIO_WritePin(GPIOC, GPIO_PIN_2|dbg3_Pin|GCL_Pin, GPIO_PIN_RESET);

  /*Configure GPIO pin Output Level */
  HAL_GPIO_WritePin(GPIOB, LD1_Pin|GPIO_PIN_1|GPIO_PIN_2|LD3_Pin
                          |dbg2_Pin|GBH_Pin|LINE_37_Pin|GPIO_PIN_6
                          |LD2_Pin, GPIO_PIN_RESET);

  /*Configure GPIO pin Output Level */
  HAL_GPIO_WritePin(GBL_GPIO_Port, GBL_Pin, GPIO_PIN_RESET);

  /*Configure GPIO pin Output Level */
  HAL_GPIO_WritePin(GPIOG, USB_PowerSwitchOn_Pin|GCH_Pin|GAL_Pin, GPIO_PIN_RESET);

  /*Configure GPIO pin : USER_Btn_Pin */
  GPIO_InitStruct.Pin = USER_Btn_Pin;
  GPIO_InitStruct.Mode = GPIO_MODE_IT_RISING;
  GPIO_InitStruct.Pull = GPIO_NOPULL;
  HAL_GPIO_Init(USER_Btn_GPIO_Port, &GPIO_InitStruct);

  /*Configure GPIO pins : PF4 GAH_Pin */
  GPIO_InitStruct.Pin = GPIO_PIN_4|GAH_Pin;
  GPIO_InitStruct.Mode = GPIO_MODE_OUTPUT_PP;
  GPIO_InitStruct.Pull = GPIO_NOPULL;
  GPIO_InitStruct.Speed = GPIO_SPEED_FREQ_VERY_HIGH;
  HAL_GPIO_Init(GPIOF, &GPIO_InitStruct);

  /*Configure GPIO pins : PC2 dbg3_Pin GCL_Pin */
  GPIO_InitStruct.Pin = GPIO_PIN_2|dbg3_Pin|GCL_Pin;
  GPIO_InitStruct.Mode = GPIO_MODE_OUTPUT_PP;
  GPIO_InitStruct.Pull = GPIO_NOPULL;
  GPIO_InitStruct.Speed = GPIO_SPEED_FREQ_VERY_HIGH;
  HAL_GPIO_Init(GPIOC, &GPIO_InitStruct);

  /*Configure GPIO pins : LD1_Pin PB1 PB2 LD3_Pin
                           dbg2_Pin GBH_Pin LINE_37_Pin PB6
                           LD2_Pin */
  GPIO_InitStruct.Pin = LD1_Pin|GPIO_PIN_1|GPIO_PIN_2|LD3_Pin
                          |dbg2_Pin|GBH_Pin|LINE_37_Pin|GPIO_PIN_6
                          |LD2_Pin;
  GPIO_InitStruct.Mode = GPIO_MODE_OUTPUT_PP;
  GPIO_InitStruct.Pull = GPIO_NOPULL;
  GPIO_InitStruct.Speed = GPIO_SPEED_FREQ_VERY_HIGH;
  HAL_GPIO_Init(GPIOB, &GPIO_InitStruct);

  /*Configure GPIO pin : GBL_Pin */
  GPIO_InitStruct.Pin = GBL_Pin;
  GPIO_InitStruct.Mode = GPIO_MODE_OUTPUT_PP;
  GPIO_InitStruct.Pull = GPIO_NOPULL;
  GPIO_InitStruct.Speed = GPIO_SPEED_FREQ_VERY_HIGH;
  HAL_GPIO_Init(GBL_GPIO_Port, &GPIO_InitStruct);

  /*Configure GPIO pins : USB_PowerSwitchOn_Pin GCH_Pin GAL_Pin */
  GPIO_InitStruct.Pin = USB_PowerSwitchOn_Pin|GCH_Pin|GAL_Pin;
  GPIO_InitStruct.Mode = GPIO_MODE_OUTPUT_PP;
  GPIO_InitStruct.Pull = GPIO_NOPULL;
  GPIO_InitStruct.Speed = GPIO_SPEED_FREQ_VERY_HIGH;
  HAL_GPIO_Init(GPIOG, &GPIO_InitStruct);

  /*Configure GPIO pin : USB_OverCurrent_Pin */
  GPIO_InitStruct.Pin = USB_OverCurrent_Pin;
  GPIO_InitStruct.Mode = GPIO_MODE_INPUT;
  GPIO_InitStruct.Pull = GPIO_NOPULL;
  HAL_GPIO_Init(USB_OverCurrent_GPIO_Port, &GPIO_InitStruct);

  /**/
  HAL_I2CEx_EnableFastModePlus(SYSCFG_PMC_I2C_PB7_FMP);

}

void StartDefaultTask(void *argument)
{
  /* init code for LWIP */
  MX_LWIP_Init();
  /* USER CODE BEGIN 5 */
	/* Infinite loop */

	struct pbuf *p;

	osDelay(100);
	data.run_state = STATE_RUN;

	while (1) {
		//DBG_4_ON();

		IP4_ADDR(&dst_addr, 192, 168, 1, 44);
		upcb = udp_new();
		udp_bind(upcb, IP_ADDR_ANY, 4444);
		udp_connect(upcb, &dst_addr, 4444);

		p = pbuf_alloc(PBUF_TRANSPORT, sizeof(data), PBUF_RAM);

		__disable_irq();
		memcpy(p->payload, &data, sizeof(data));
		__enable_irq();

		udp_send(upcb, p);

		pbuf_free(p); //De-allocate packet buffer
		udp_disconnect(upcb);
		udp_remove(upcb);

		LED_B_TOG();

		//DBG_4_OFF();

		vTaskDelay(1);

	}
	osThreadTerminate(NULL);
  /* USER CODE END 5 */
}

/* USER CODE BEGIN Header_StartTask2 */

void hack_format(float val, char *sign, int *int_part, int *rem_part) {
	*sign = (val < 0) ? '-' : ' ';
	*int_part = fabsf(val);
	float frac = fabsf(val) - *int_part;
	*rem_part = truncf(frac * 100);
}

/**
 * @brief Function implementing the task2 thread.
 * @param argument: Not used
 * @retval None
 */
/* USER CODE END Header_StartTask2 */
void StartTask2(void *argument)
{
  /* USER CODE BEGIN StartTask2 */
	/* Infinite loop */
	while (1) {
		//DBG_3_ON();
		char buf[32];
		int n;

		float ia = data.ia;
		float ib = data.ib;
		float ic = data.ic;
		float ids = data.ids;
		float iqs = data.iqs;
		float fls = data.fls*1000.;
		float te = data.torque_goal*1000.;
		float vbus = data.vbus;
		int state = data.run_state;
		int rpm = data.speed_rpm;

		char sign = ' ';
		int int_part = 0;
		int rem_part = 0;

		// Task for I2C Display
		ssd1306_Fill(Black);

		ssd1306_SetCursor(0, 0);
		hack_format(ia, &sign, &int_part, &rem_part);
		n = sprintf(buf, "ia%c%2d.%02d", sign, int_part, rem_part);
		hack_format(ids, &sign, &int_part, &rem_part);
		n = sprintf(buf + n, "  id%c%2d.%02d", sign, int_part, rem_part);
		ssd1306_WriteString(buf, Font_7x10, White);

		ssd1306_SetCursor(0, 12);
		hack_format(ib, &sign, &int_part, &rem_part);
		n = sprintf(buf, "ib%c%2d.%02d", sign, int_part, rem_part);
		hack_format(iqs, &sign, &int_part, &rem_part);
		n = sprintf(buf + n, "  iq%c%2d.%02d", sign, int_part, rem_part);
		ssd1306_WriteString(buf, Font_7x10, White);

		ssd1306_SetCursor(0, 24);
		hack_format(ic, &sign, &int_part, &rem_part);
		n = sprintf(buf, "ic%c%2d.%02d", sign, int_part, rem_part);
		hack_format(fls, &sign, &int_part, &rem_part);
		n = sprintf(buf + n, "  fs%c%2d.%02d", sign, int_part, rem_part);
		ssd1306_WriteString(buf, Font_7x10, White);

		ssd1306_SetCursor(0, 36);
		hack_format(vbus, &sign, &int_part, &rem_part);
		n = sprintf(buf, "vb %2d.%02d", int_part, rem_part);
		hack_format(te, &sign, &int_part, &rem_part);
		n = sprintf(buf + n, "  te%c%2d.%02d", sign, int_part, rem_part);
		ssd1306_WriteString(buf, Font_7x10, White);

		ssd1306_SetCursor(0, 48);
		switch (state) {
		case STATE_OFF:
			ssd1306_WriteString("OFF    ", Font_7x10, White);
			break;
		case STATE_RUN:
			ssd1306_WriteString("RUN     ", Font_7x10, White);
			break;
		case STATE_OC:
			ssd1306_WriteString("OVERCURR", Font_7x10, White);
			break;
		case STATE_OV:
			ssd1306_WriteString("OVERVOLT", Font_7x10, White);
			break;
		}
		sprintf(buf, "rpm %d", rpm);
        ssd1306_WriteString(buf, Font_7x10, White);

		ssd1306_UpdateScreen();
		//DBG_3_OFF();
		LED_G_TOG();

		/*
		AL_OFF();
		AH_OFF();
		BL_OFF();
		BH_OFF();
		CL_OFF();
		CH_OFF();
		delay200ns();
		switch(i++){
			case 0:
				AL_ON();
				break;
			case 1:
				AH_ON();
				break;
			case 2:
				BL_ON();
				break;
			case 3:
				BH_ON();
				break;
			case 4:
				CL_ON();
				break;
			case 5:
				CH_ON();
				break;
		}
		if(i > 5){
			i = 0;
		}*/

		vTaskDelay(20);
	}

	osThreadTerminate(NULL);
  /* USER CODE END StartTask2 */
}

/* USER CODE BEGIN Header_SpeedControl */
/**
* @brief Function implementing the speed_control thread.
* @param argument: Not used
* @retval None
*/
const float speed_dt = 0.001;
const float speed_goal = 4000;
const float speed_p_gain = 1e-5;
const float speed_i_gain = 1e-7;
static float speed_integrator;

/* USER CODE END Header_SpeedControl */
void SpeedControl(void *argument)
{
  /* USER CODE BEGIN SpeedControl */
  /* Infinite loop */
  for(;;)
  {

	data.flux_goal = sqrtf(2. / 3.) * Ke * 2.0 / poles;
	flux_hyst = data.flux_goal / 20;
	//data.flux_goal = 0.1;
	float speed_err = lim_float(speed_goal - data.speed_rpm, -500, 500);
	speed_integrator += lim_float(speed_err * speed_i_gain, -10000, 10000);
	float pterm = speed_err * speed_p_gain;
	float control = lim_float(pterm + speed_integrator, 0, 0.1);
	data.torque_goal = lim_float(control, data.torque_goal-0.001, data.torque_goal+0.001); // Slew limit
	//data.torque_goal = 0.015;

    osDelay(1);
  }
  /* USER CODE END SpeedControl */
}

 /**
  * @brief  Period elapsed callback in non blocking mode
  * @note   This function is called  when TIM6 interrupt took place, inside
  * HAL_TIM_IRQHandler(). It makes a direct call to HAL_IncTick() to increment
  * a global variable "uwTick" used as application time base.
  * @param  htim : TIM handle
  * @retval None
  */
void HAL_TIM_PeriodElapsedCallback(TIM_HandleTypeDef *htim)
{
  if (htim->Instance == TIM6) {
    HAL_IncTick();
  }
}

void Error_Handler(void)
{
}

/************************ (C) COPYRIGHT STMicroelectronics *****END OF FILE****/
